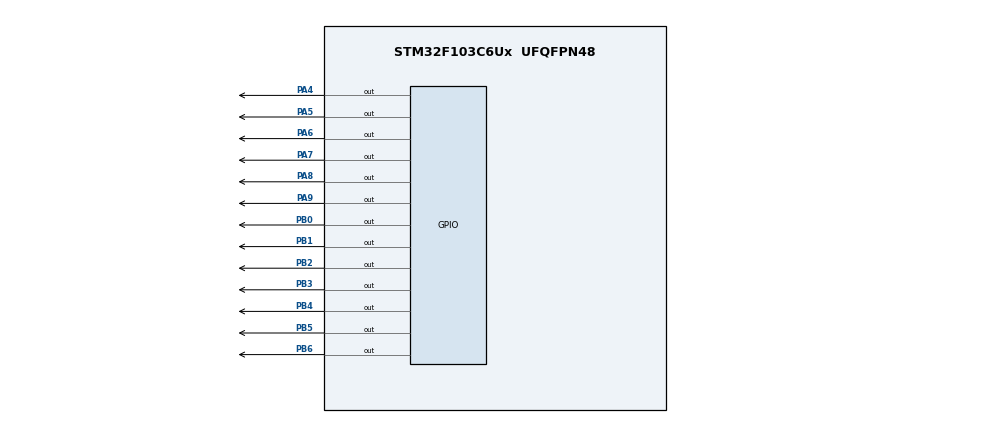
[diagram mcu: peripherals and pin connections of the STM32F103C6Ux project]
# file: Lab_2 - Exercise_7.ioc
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Mcu.Family=STM32F1
Mcu.Name=STM32F103C6Ux
Mcu.Package=UFQFPN48
NVIC.PriorityGroup=NVIC_PRIORITYGROUP_4
NVIC.TIM2_IRQn=true\:0\:0\:false\:false\:true\:true\:true
PA4.Signal=GPIO_Output
PA5.Signal=GPIO_Output
PA6.Signal=GPIO_Output
PA7.Signal=GPIO_Output
PA8.Signal=GPIO_Output
PA9.Signal=GPIO_Output
PB0.Signal=GPIO_Output
PB1.Signal=GPIO_Output
PB2.Signal=GPIO_Output
PB3.Signal=GPIO_Output
PB4.Signal=GPIO_Output
PB5.Signal=GPIO_Output
PB6.Signal=GPIO_Output
ProjectManager.HeapSize=0x200
ProjectManager.StackSize=0x400
ProjectManager.TargetToolchain=STM32CubeIDE
RCC.APB1Freq_Value=8000000
RCC.APB2Freq_Value=8000000
TIM2.Period=9
TIM2.Prescaler=7999
VP_SYS_VS_ND.Mode=No_Debug
VP_TIM2_VS_ClockSourceINT.Mode=Internal
board=custom

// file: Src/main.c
/* USER CODE BEGIN Header */
/**
  ******************************************************************************
  * @file           : main.c
  * @brief          : Main program body
  ******************************************************************************
  * @attention
  *
  * <h2><center>&copy; Copyright (c) 2025 STMicroelectronics.
  * All rights reserved.</center></h2>
  *
  * This software component is licensed by ST under BSD 3-Clause license,
  * the "License"; You may not use this file except in compliance with the
  * License. You may obtain a copy of the License at:
  *                        opensource.org/licenses/BSD-3-Clause
  *
  ******************************************************************************
  */
/* USER CODE END Header */
#include "main.h"

TIM_HandleTypeDef htim2;

void SystemClock_Config(void);
static void MX_GPIO_Init(void);
static void MX_TIM2_Init(void);

/* USER CODE BEGIN 0 */

uint8_t seg_digits[10] = {
	0b11000000, //0
	0b11111001, //1
	0b10100100, //2
	0b10110000, //3
	0b10011001, //4
	0b10010010, //5
	0b10000010, //6
	0b11111000, //7
	0b10000000, //8
	0b10010000  //9
};

void display7SEG(int firstPin, int num){
	if ( num > 9 ) return;
	uint8_t pattern = seg_digits[num];

	for ( int i = 0; i < 7; i++){
		HAL_GPIO_WritePin(GPIOB, firstPin << i, (pattern & (1 << i)) ? GPIO_PIN_SET : GPIO_PIN_RESET);
	}
}

const int MAX_LED = 4;
int index_led = 0;
int led_buffer[4] = {1,2,3,4};

void update7SEG(int index){

	HAL_GPIO_WritePin(GPIOA, GPIO_PIN_6, GPIO_PIN_SET);
	HAL_GPIO_WritePin(GPIOA, GPIO_PIN_7, GPIO_PIN_SET);
	HAL_GPIO_WritePin(GPIOA, GPIO_PIN_8, GPIO_PIN_SET);
	HAL_GPIO_WritePin(GPIOA, GPIO_PIN_9, GPIO_PIN_SET);

	switch (index){
	case 0:
		HAL_GPIO_WritePin(GPIOA, GPIO_PIN_6, GPIO_PIN_RESET);
		display7SEG(GPIO_PIN_0, led_buffer[0]);
		break;
	case 1:
		HAL_GPIO_WritePin(GPIOA, GPIO_PIN_7, GPIO_PIN_RESET);
		display7SEG(GPIO_PIN_0, led_buffer[1]);
		break;
	case 2:
		HAL_GPIO_WritePin(GPIOA, GPIO_PIN_8, GPIO_PIN_RESET);
		display7SEG(GPIO_PIN_0, led_buffer[2]);
		break;
	case 3:
		HAL_GPIO_WritePin(GPIOA, GPIO_PIN_9, GPIO_PIN_RESET);
		display7SEG(GPIO_PIN_0, led_buffer[3]);
		break;
	default:
		break;
	}
}

void updateClockBuffer(int hour, int minute){
	led_buffer[0] = hour/10;
	led_buffer[1] = hour%10;
	led_buffer[2] = minute/10;
	led_buffer[3] = minute%10;
}

int timer0_counter = 0;
int timer0_flag = 0;
int TIMER_CYCLE = 10;

void setTimer0(int duration){
	timer0_counter = duration/TIMER_CYCLE;
	timer0_flag = 0;
}

void timer_run(){
	if(timer0_counter > 0){
		timer0_counter--;
		if(timer0_counter == 0) timer0_flag = 1;
	}
}
/* USER CODE END 0 */

int main(void)
{

  /* MCU Configuration--------------------------------------------------------*/

  /* Reset of all peripherals, Initializes the Flash interface and the Systick. */
  HAL_Init();

  /* Configure the system clock */
  SystemClock_Config();

  /* Initialize all configured peripherals */
  MX_GPIO_Init();
  MX_TIM2_Init();
  /* USER CODE BEGIN 2 */
  HAL_TIM_Base_Start_IT(&htim2);
  /* USER CODE END 2 */

  /* Infinite loop */
  /* USER CODE BEGIN WHILE */
  setTimer0(1000);
  int hour = 15, minute = 8, second = 50;
	while (1)
	{
	/* USER CODE END WHILE */
		if(timer0_flag == 1){
			second++;
			if (second >= 60){
				second = 0;
				minute++;
			}
			if (minute >= 60){
				minute = 0;
				hour++;
			}
			if (hour >= 24){
				hour = 0;
			}

			updateClockBuffer(hour, minute);
			HAL_GPIO_TogglePin(GPIOA, GPIO_PIN_4);
			HAL_GPIO_TogglePin(GPIOA, GPIO_PIN_5);

			update7SEG(index_led);
			index_led++;
			if (index_led >= MAX_LED) index_led = 0;

			setTimer0(1000);
		}
	}
}

void SystemClock_Config(void)
{
  RCC_OscInitTypeDef RCC_OscInitStruct = {0};
  RCC_ClkInitTypeDef RCC_ClkInitStruct = {0};

  /** Initializes the RCC Oscillators according to the specified parameters
  * in the RCC_OscInitTypeDef structure.
  */
  RCC_OscInitStruct.OscillatorType = RCC_OSCILLATORTYPE_HSI;
  RCC_OscInitStruct.HSIState = RCC_HSI_ON;
  RCC_OscInitStruct.HSICalibrationValue = RCC_HSICALIBRATION_DEFAULT;
  RCC_OscInitStruct.PLL.PLLState = RCC_PLL_NONE;
  if (HAL_RCC_OscConfig(&RCC_OscInitStruct) != HAL_OK)
  {
    Error_Handler();
  }
  /** Initializes the CPU, AHB and APB buses clocks
  */
  RCC_ClkInitStruct.ClockType = RCC_CLOCKTYPE_HCLK|RCC_CLOCKTYPE_SYSCLK
                              |RCC_CLOCKTYPE_PCLK1|RCC_CLOCKTYPE_PCLK2;
  RCC_ClkInitStruct.SYSCLKSource = RCC_SYSCLKSOURCE_HSI;
  RCC_ClkInitStruct.AHBCLKDivider = RCC_SYSCLK_DIV1;
  RCC_ClkInitStruct.APB1CLKDivider = RCC_HCLK_DIV1;
  RCC_ClkInitStruct.APB2CLKDivider = RCC_HCLK_DIV1;

  if (HAL_RCC_ClockConfig(&RCC_ClkInitStruct, FLASH_LATENCY_0) != HAL_OK)
  {
    Error_Handler();
  }
}

static void MX_TIM2_Init(void)
{

  TIM_ClockConfigTypeDef sClockSourceConfig = {0};
  TIM_MasterConfigTypeDef sMasterConfig = {0};

  htim2.Instance = TIM2;
  htim2.Init.Prescaler = 7999;
  htim2.Init.CounterMode = TIM_COUNTERMODE_UP;
  htim2.Init.Period = 9;
  htim2.Init.ClockDivision = TIM_CLOCKDIVISION_DIV1;
  htim2.Init.AutoReloadPreload = TIM_AUTORELOAD_PRELOAD_DISABLE;
  if (HAL_TIM_Base_Init(&htim2) != HAL_OK)
  {
    Error_Handler();
  }
  sClockSourceConfig.ClockSource = TIM_CLOCKSOURCE_INTERNAL;
  if (HAL_TIM_ConfigClockSource(&htim2, &sClockSourceConfig) != HAL_OK)
  {
    Error_Handler();
  }
  sMasterConfig.MasterOutputTrigger = TIM_TRGO_RESET;
  sMasterConfig.MasterSlaveMode = TIM_MASTERSLAVEMODE_DISABLE;
  if (HAL_TIMEx_MasterConfigSynchronization(&htim2, &sMasterConfig) != HAL_OK)
  {
    Error_Handler();
  }

}

static void MX_GPIO_Init(void)
{
  GPIO_InitTypeDef GPIO_InitStruct = {0};

  /* GPIO Ports Clock Enable */
  __HAL_RCC_GPIOA_CLK_ENABLE();
  __HAL_RCC_GPIOB_CLK_ENABLE();

  /*Configure GPIO pin Output Level */
  HAL_GPIO_WritePin(GPIOA, GPIO_PIN_4|GPIO_PIN_5|GPIO_PIN_6|GPIO_PIN_7
                          |GPIO_PIN_8|GPIO_PIN_9, GPIO_PIN_RESET);

  /*Configure GPIO pin Output Level */
  HAL_GPIO_WritePin(GPIOB, GPIO_PIN_0|GPIO_PIN_1|GPIO_PIN_2|GPIO_PIN_3
                          |GPIO_PIN_4|GPIO_PIN_5|GPIO_PIN_6, GPIO_PIN_RESET);

  /*Configure GPIO pins : PA4 PA5 PA6 PA7
                           PA8 PA9 */
  GPIO_InitStruct.Pin = GPIO_PIN_4|GPIO_PIN_5|GPIO_PIN_6|GPIO_PIN_7
                          |GPIO_PIN_8|GPIO_PIN_9;
  GPIO_InitStruct.Mode = GPIO_MODE_OUTPUT_PP;
  GPIO_InitStruct.Pull = GPIO_NOPULL;
  GPIO_InitStruct.Speed = GPIO_SPEED_FREQ_LOW;
  HAL_GPIO_Init(GPIOA, &GPIO_InitStruct);

  /*Configure GPIO pins : PB0 PB1 PB2 PB3
                           PB4 PB5 PB6 */
  GPIO_InitStruct.Pin = GPIO_PIN_0|GPIO_PIN_1|GPIO_PIN_2|GPIO_PIN_3
                          |GPIO_PIN_4|GPIO_PIN_5|GPIO_PIN_6;
  GPIO_InitStruct.Mode = GPIO_MODE_OUTPUT_PP;
  GPIO_InitStruct.Pull = GPIO_NOPULL;
  GPIO_InitStruct.Speed = GPIO_SPEED_FREQ_LOW;
  HAL_GPIO_Init(GPIOB, &GPIO_InitStruct);

}

/* USER CODE BEGIN 4 */
void HAL_TIM_PeriodElapsedCallback(TIM_HandleTypeDef *htim){
	if (htim->Instance == TIM2){
		timer_run();
	}
}
/* USER CODE END 4 */

void Error_Handler(void)
{
  __disable_irq();
  while (1)
  {
  }
}

/************************ (C) COPYRIGHT STMicroelectronics *****END OF FILE****/
